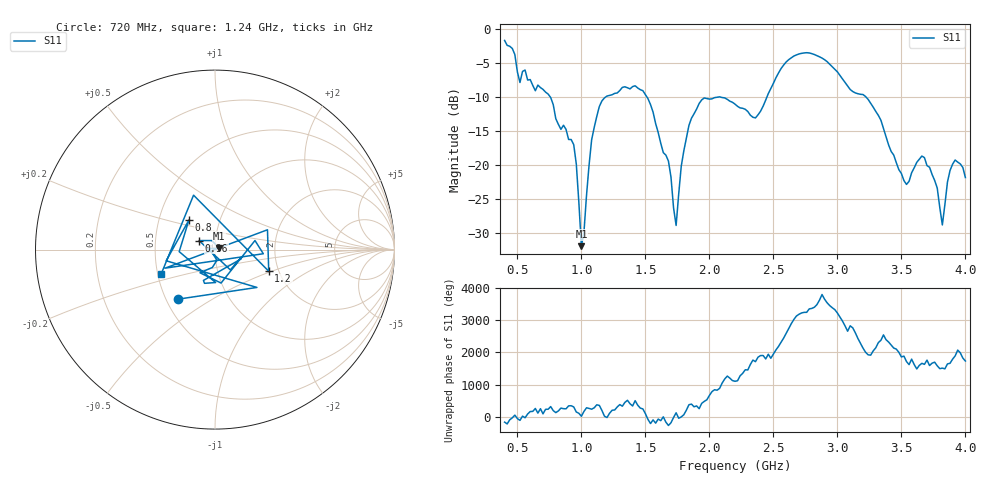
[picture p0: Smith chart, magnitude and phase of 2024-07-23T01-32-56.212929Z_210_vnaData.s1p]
!Created with skrf (http://scikit-rf.org).
# Hz S RI R 50.0
!freq ReS11 ImS11
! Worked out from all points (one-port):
!   181 points, 400 MHz to 4 GHz, reference 50 ohm
!   lowest |S11| = -31.9 dB at 1 GHz (marker M1), VSWR 1.05, Z = 52.5 + j0.783 ohm
!   |S11| at or under -10 dB: 758.3 MHz to 1.187 GHz (429.1 MHz wide, 44.1 % of centre); 1.513 GHz to 2.062 GHz (549.2 MHz wide, 30.7 % of centre); 3.225 GHz to end of sweep (the widest 3 of 4)
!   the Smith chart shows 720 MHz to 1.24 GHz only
!   S11 on the Smith chart (normalised r, x): 720 MHz: 0.58, -0.36; 800 MHz: 0.71, +0.25; 960 MHz: 0.83, +0.08; 1.2 GHz: 1.77, -0.48; 1.24 GHz: 0.52, -0.16
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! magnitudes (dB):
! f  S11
! 400 MHz  -1.6
! 520 MHz  -7.8
! 720 MHz  -9.2
! 800 MHz  -13.2
! 860 MHz  -14.1
! 960 MHz  -19.8
! 1 GHz  -31.9
! 1.08 GHz  -16.3
! 1.2 GHz  -9.8
! 1.24 GHz  -9.6
! 1.3 GHz  -9.0
! 1.52 GHz  -10.2
! 1.68 GHz  -19.4
! 1.74 GHz  -28.9
! 1.76 GHz  -24.3
! 1.84 GHz  -14.2
! 1.92 GHz  -10.9
! 2.2 GHz  -11.0
! 2.36 GHz  -13.0
! 2.66 GHz  -3.9
! 3.1 GHz  -8.9
! 3.28 GHz  -11.5
! 3.56 GHz  -22.4
! 3.68 GHz  -18.9
! 3.78 GHz  -23.4
! 3.82 GHz  -28.8
! 3.9 GHz  -19.8
! 4 GHz  -21.8
